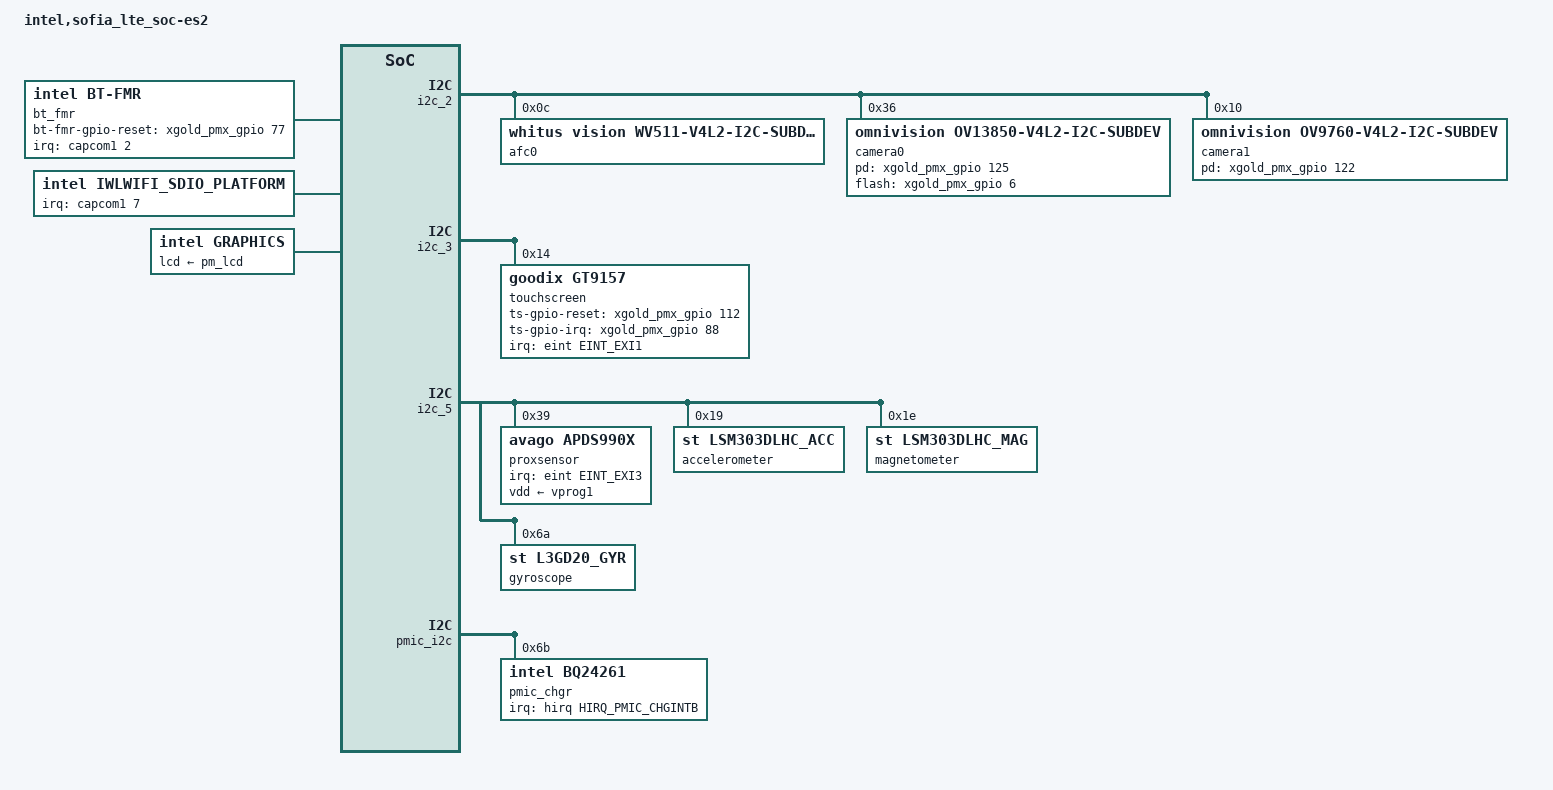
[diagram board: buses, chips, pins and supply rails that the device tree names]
/dts-v1/;
#define SOFIALTE_ES2
#define PMIC_B0
#include "xgold/sofia_lte_soc/irq.h"

/ {
	#address-cells = <1>;
	#size-cells = <1>;
	model = "intel,sofia_lte_soc-es2";
	compatible = "intel,sofia_lte_soc-svb", "intel,xgold";

	#include "xgold/sofia_lte_soc/sofia_lte_soc.dtsi"
	#include "xgold/sofia_lte_soc/irq.dtsi"
	#include "xgold/mobilevisor/mobilevisor.dtsi"
	#include "xgold/pmic/sofia_lte.dtsi"
	#include "xgold/sofia_lte_soc/clock-es2.dtsi"
	#include "xgold/sofia_lte_soc/device-pm-reg.dtsi"
	#include "xgold/sofia_lte_soc/cpufreq.dtsi"
	/* FIXME: Add regulator.dtsi */

	chosen {
	};

	aliases {
	};

	memory {
		/* FIXME: Add memory desc */
	};

	reserved-memory {
		#address-cells = <1>;
		#size-cells = <1>;
		ranges;

		/* global autoconfigured region for contiguous allocations */
		cma_default_region: region@0 {
			size = <0x09000000>;
			linux,cma-default;
		};
	};

	vmodem {
		compatible = "intel,vmodem";
		vmodem,nvm-part = < 1 >;
		vmodem,part-names =
			"/dev/block/platform/soc0/e0000000.noc/by-name/ImcPartID022";
		part-addr,part-size =
			<0x3FE80000 0x180000>;
	};


	ion {
		compatible = "intel,ion";
		cma-heap {
			memory-region = <&cma_default_region>;
		};
	};

	bt_fmr {
		compatible = "intel,bt-fmr";
		pinctrl-names = "default", "sleep", "inactive";
		pinctrl-0 = <&bt_fmr_default_pins>;
		pinctrl-1 = <&bt_fmr_sleep_pins>;
		pinctrl-2 = <&bt_fmr_inactive_pins>;
		intel,bt-fmr-gpio-reset = <&xgold_pmx_gpio 77 0 >;
		interrupt-parent = <&capcom1>;
		interrupts = < 2 XGOLD_IRQ_TYPE_EDGE_FALLING >;
		interrupt-names = "wakeup-host";
	};

	iwlwifi_sdio_platform {
		compatible = "intel,iwlwifi_sdio_platform";

		interrupt-parent = <&capcom1>;
		interrupts = < 7 XGOLD_IRQ_TYPE_EDGE_FALLING >;
		interrupt-names = "wlan_irq";
	};


	graphics {
		compatible = "intel,graphics";
		intel,gpu-shared-mem = <0x20000000>;
		intel,dcc-fbpixelformat= "RGB888";
		intel,dcc-debug-level = <1>;
#ifdef RECOVERY_KERNEL
		intel,fb-api = <1>;
		intel,dcc-mem = < 0x00800000 >;
#else
		intel,dcc-use-fences = <1>;
		intel,dcc-mem = < 0x00400000 >;
		intel,prot-mem = < 0x30800000 0xB800000>;
#endif
		lcd-supply = <&pm_lcd>;
		intel,display-fps = <60>;
		intel,display-ramless = <1>;
		intel,display-preinit = <0>;
		intel,display-if = <&mipi_dsi>;
		intel,display-if-rate = <375000000>;
		/include/ "xgold/display/HX8394.dtsi"
		mipi_dsi:mipi-dsi {
				intel,display-if-min = <104000000>;
				intel,display-if-max = <550000000>;
				intel,display-if-nblanes = <4>;
				intel,display-if-phy-pwup = <6>;
				intel,display-if-phy-calib = <3>;
				intel,display-if-phy-to_lp_hs_req = <24>;
				intel,display-if-phy-to_lp_hs_dis = <25>;
				intel,display-if-phy-to_lp_hs_eot = <60>;
				intel,display-if-phy-to_hs_zero = <8>;
				intel,display-if-phy-to_hs_flip = <24>;
				intel,display-if-phy-lp_clk_div = <31>;
				intel,display-if-phy-to_hs_clk_pre = <36>;
				intel,display-if-phy-to_hs_clk_post = <42>;
				intel,display-if-phy-data_delay = <7>;
				intel,display-if-phy-clock_delay = <7>;
				intel,display-if-phy-lp_tx_tfall = <2>;
				intel,display-if-phy-lp_tx_rise = <2>;
				intel,display-if-phy-lp_tx_vref = <31>;
		};
	};

	sound {
		compatible = "intel,xgold-snd-asoc";
		intel,audio-codec = <&pmic_afe>;
		intel,pcm-audio = <&pcm_music>;
		intel,pcm-voice = <&pcm_voice>;
		intel,speech = <&speech_probe>;
#ifdef PMIC_B0
		intel,jack = <&headset>;
#endif
	};
	xgold_pmic {
		/* compatible = "intel,xgold_pmic"; */
		intel,adapter = < &i2c_1 >;
		intel,slave-addr = /bits/ 8 < 0x4f 0x5e 0x5f 0x6d 0x6e >;
		intel,slave-names = "dev2", "dev3", "dev4", "dev5", "dev6";
	};

	radio {
		compatible = "intel,fm-radio";
	};

	fuel_gauge:fuel_gauge {
		compatible = "intel,fuel_gauge";
	};
};

&pmic_bat {
	/* Note: Value of max_temp and max_temp_restart take consideration of
	temperature compensation when NTC uses VBAT_GND */
	#define BAT_TYPE_LC 0
	#define POWER_SUPPLY_TECHNOLOGY_LION 2

	supp_batids =  < 0     BAT_TYPE_LC
			 4700  BAT_TYPE_LC
			 12000 BAT_TYPE_LC
			 15000 BAT_TYPE_LC
			 20000 BAT_TYPE_LC
			 27000 BAT_TYPE_LC >;

	supp_batids-map = "standrd",
			  "dummy",
			  "standrd",
			  "standrd",
			  "standrd",
			  "standrd";

	prof-standrd = < POWER_SUPPLY_TECHNOLOGY_LION /*battery_type*/
				  2763 /*capacity*/
				  4350 /*voltage_max*/
				  138 /*chrg_term_ma*/
				  3200 /*low_batt_mv*/
				  60 /*disch_tmp_ul*/
				  0xffffffec /*disch_tmp_ll (-20)*/
				  0 /*min_temp*/
				  3 /*min_temp_restart*/
				  40 /*max_temp_restart*/ >;

	prof-standrd-cap_to_vbat_ocv = <
		3202 3353 3463 3538 3594 3637 3669 3684 3690 3694
		3697 3700 3703 3706 3711 3717 3723 3730 3736 3741
		3746 3751 3755 3760 3764 3768 3771 3774 3777 3779
		3781 3784 3786 3788 3791 3793 3796 3799 3802 3805
		3808 3811 3814 3818 3822 3825 3829 3833 3838 3842
		3847 3851 3856 3861 3867 3872 3878 3884 3890 3897
		3904 3911 3918 3925 3932 3940 3947 3953 3960 3965
		3971 3977 3984 3993 4004 4017 4033 4048 4062 4071
		4078 4084 4091 4100 4109 4119 4128 4138 4148 4158
		4168 4177 4187 4197 4207 4217 4227 4237 4247 4256
		4264 >;


	prof-standrd-ntemp_ranges = <1>;

	prof-standrd-temp_range0 = < 43 /*max_temp*/
					     4300 /*full_chrg_vol*/
					     1500 /*full_chrg_cur*/
					     98 /*charging_res_cap*/
					     4300 /*maint_chrg_vol_ul*/
					     1500 /*maint_chrg_cur*/ >;



	prof-dummy = <   POWER_SUPPLY_TECHNOLOGY_LION /*battery_type*/
				  0xFFFF /*capacity*/
				  4350 /*voltage_max*/
				  82 /*chrg_term_ma*/
				  3200 /*low_batt_mv*/
				  60 /*disch_tmp_ul*/
				  0xffffffec /*disch_tmp_ll (-20)*/
				  0xfffffeef /*min_temp (-273)*/
				  0xfffffef0 /*min_temp_restart (-272)*/
				  0xfffffef1 /*max_temp_restart (-271)*/ >;


	prof-dummy-cap_to_vbat_ocv = <
		3202 3353 3463 3538 3594 3637 3669 3684 3690 3694
		3697 3700 3703 3706 3711 3717 3723 3730 3736 3741
		3746 3751 3755 3760 3764 3768 3771 3774 3777 3779
		3781 3784 3786 3788 3791 3793 3796 3799 3802 3805
		3808 3811 3814 3818 3822 3825 3829 3833 3838 3842
		3847 3851 3856 3861 3867 3872 3878 3884 3890 3897
		3904 3911 3918 3925 3932 3940 3947 3953 3960 3965
		3971 3977 3984 3993 4004 4017 4033 4048 4062 4071
		4078 4084 4091 4100 4109 4119 4128 4138 4148 4158
		4168 4177 4187 4197 4207 4217 4227 4237 4247 4256
		4264 >;


	prof-dummy-ntemp_ranges = <1>;

	prof-dummy-temp_range0 = < 0xfffffef2 /*max_temp (-270)*/
					   4160 /*full_chrg_vol*/
					   850 /*full_chrg_cur*/
					   98 /*charging_res_cap*/
					   4160 /*maint_chrg_vol_ul*/
					   850 /*maint_chrg_cur*/ >;

	nprofiles = <2>;
};

&fuel_gauge_hal {
	sense_resistor_mohm = <10>;
	gain_error_1_uc_per_mc = <30>;
	gain_error_2_uc_per_mc = <30>;
};

&dcc {
	pinctrl-names = "default", "sleep", "inactive";
	pinctrl-0 = <&dif_default_pins>;
	pinctrl-1 = <&dif_sleep_pins>;
	pinctrl-2 = <&dif_inactive_pins>;
};

&usif1 {
	pinctrl-names = "default", "sleep", "inactive";
	pinctrl-0 = <&usif1_default_pins>;
	pinctrl-1 = <&usif1_sleep_pins>;
	pinctrl-2 = <&usif1_inactive_pins>;
};

&i2c_1 {
	pinctrl-names = "default", "sleep", "inactive";
	pinctrl-0 = <&i2c1_default_pins>;
	pinctrl-1 = <&i2c1_sleep_pins>;
	pinctrl-2 = <&i2c1_inactive_pins>;
	#include "xgold/sofia_lte_soc/regulator.dtsi"
};

&i2c_2 {
	pinctrl-names = "default", "sleep", "inactive";
	pinctrl-0 = <&i2c2_default_pins>;
	pinctrl-1 = <&i2c2_sleep_pins>;
	pinctrl-2 = <&i2c2_inactive_pins>;
#ifndef RECOVERY_KERNEL
	afc0: af-controller@0 {
		compatible = "whitus vision,wv511-v4l2-i2c-subdev";
		reg = < 0x0C >;
	};

	camera0: camera-module@0 {
		compatible = "omnivision,ov13850-v4l2-i2c-subdev";
		reg = < 0x36 >;
		device_type = "v4l2-i2c-subdev";

		pinctrl-names = "default", "sleep", "inactive";
		pinctrl-0 = <&cam1_function_B_active_pins>;
		pinctrl-1 = <&cam1_function_B_sleep_pins>;
		pinctrl-2 = <&cam1_function_B_inactive_pins>;

		intel,pd-gpio = <&xgold_pmx_gpio 125 0>;
		intel,pd-gpio-is_active_low;
		intel,flash-gpio = <&xgold_pmx_gpio 6 0>;

		pm,class-name = "generic_class";
		pm,user-name = "ext_prim_cam";
		pm,state-D0 = "enable";
		pm,state-D3 = "disable";

		/* ["front","back"] */
		intel,camera-module-facing = "back";
		/* ["landscape","landscape-flipped","portrait","portrait-flipped"] */
		intel,camera-module-mounting = "landscape";
		intel,camera-module-flash-support = <1>;
		intel,camera-module-flash-exp-time = <5000>;

		intel,af-ctrl = <&afc0>;

		intel,camera-module-csi-config-0 {
			intel,csi-pixels-per-second = <0>;
			intel,csi-vc = <0>;
			intel,csi-lanes = <2>;
			intel,csi-dphy1 = <0x60102C1>;
			intel,csi-dphy2 = <0x00>;
		};
		intel,camera-module-csi-config-1 {
			intel,csi-pixels-per-second = <100000000>;
			intel,csi-vc = <0>;
			intel,csi-lanes = <4>;
			intel,csi-dphy1 = <0x600E2C1>;
			intel,csi-dphy2 = <0x00>;
		};
	};
#endif
#ifndef RECOVERY_KERNEL
	camera1: camera-module@1 {
		compatible = "omnivision,ov9760-v4l2-i2c-subdev";
		reg = < 0x10 >;
		device_type = "v4l2-i2c-subdev";

		pinctrl-names = "default", "sleep", "inactive";
		pinctrl-0 = <&cam2_function_B_active_pins>;
		pinctrl-1 = <&cam2_function_B_sleep_pins>;
		pinctrl-2 = <&cam2_function_B_inactive_pins>;

		intel,pd-gpio = <&xgold_pmx_gpio 122 0>;
		intel,pd-gpio-is_active_low;

		pm,class-name = "generic_class";
		pm,user-name = "ext_sec_cam";
		pm,state-D0 = "enable";
		pm,state-D3 = "disable";

		intel,camera-module-facing = "front";
		/* ["landscape","landscape-flipped","portrait","portrait-flipped"] */
		intel,camera-module-mounting = "landscape";
		intel,camera-module-flash-support = <1>;
		intel,camera-module-flash-exp-time = <5000>;

		intel,camera-module-csi-config-0 {
			intel,csi-pixels-per-second = <0>;
			intel,csi-vc = <0>;
			intel,csi-lanes = <1>;
			intel,csi-dphy1 = <0x60122A9>;
			intel,csi-dphy2 = <0x00>;
		};

	};
#endif
};

&i2c_3 {
	pinctrl-names = "default", "sleep", "inactive";
	pinctrl-0 = <&i2c3_default_pins>;
	pinctrl-1 = <&i2c3_sleep_pins>;
	pinctrl-2 = <&i2c3_inactive_pins>;
	touchscreen {
		compatible = "goodix,GT9157";
		reg = < 0x14 >;
		interrupt-parent = <&eint>;
		interrupts = < EINT_EXI1 XGOLD_IRQ_TYPE_EDGE_FALLING >;
		pinctrl-names = "default", "sleep", "inactive";
		pinctrl-0 = <&touch_default_pins>;
		pinctrl-1 = <&touch_sleep_pins>;
		pinctrl-2 = <&touch_inactive_pins>;
		intel,ts-gpio-reset = <&xgold_pmx_gpio 112 0>;
		intel,ts-gpio-irq = <&xgold_pmx_gpio 88 0>;
		pm,class-name = "gt9xx_class";
		pm,user-name = "ext_tp";
		pm,state-D0 = "enable";
		pm,state-D3 = "disable";
	};
};

&i2c_4 {
	pinctrl-names = "default", "sleep", "inactive";
	pinctrl-0 = <&i2c4_default_pins>;
	pinctrl-1 = <&i2c4_sleep_pins>;
	pinctrl-2 = <&i2c4_inactive_pins>;
};

&i2c_5 {
	pinctrl-names = "default", "sleep", "inactive";
	pinctrl-0 = <&i2c5_default_pins>;
	pinctrl-1 = <&i2c5_sleep_pins>;
	pinctrl-2 = <&i2c5_inactive_pins>;
	proxsensor {
		compatible = "avago,apds990x";
		reg = < 0x39 >;
		interrupt-parent = <&eint>;
		interrupts = < EINT_EXI3 XGOLD_IRQ_TYPE_EDGE_FALLING >;
		pinctrl-names = "default", "sleep", "inactive";
		pinctrl-0 = <&prox_default_pins>;
		pinctrl-1 = <&prox_sleep_pins>;
		pinctrl-2 = <&prox_inactive_pins>;
		intel,pdrive = /bits/ 8 < 64 >;
		intel,ppcount = /bits/ 8 < 64 >;
		vdd-supply = < &vprog1 >;
		pm,class-name = "apds990x_class";
		pm,user-name = "ext_proximity_sensor";
		pm,state-D0 = "enable";
		pm,state-D3 = "disable";
	};

	accelerometer {
		compatible = "st,lsm303dlhc_acc";
		reg = < 0x19 >;
		intel,axis-map = < 0 1 2 >;
		intel,negate = < 0 0 0 >;
		intel,poll-interval = < 100 >;
		pinctrl-names = "default", "sleep", "inactive";
		pinctrl-0 = <&accel_default_pins>;
		pinctrl-1 = <&accel_sleep_pins>;
		pinctrl-2 = <&accel_inactive_pins>;
		pm,class-name = "lsm303dlhc_acc_class";
		pm,user-name = "ext_accelerometer";
		pm,state-D0 = "enable";
		pm,state-D3 = "disable";
	};

	magnetometer {
		compatible = "st,lsm303dlhc_mag";
		reg = < 0x1e >;
		intel,axis-map = < 0 1 2 >;
		intel,negate = < 0 0 0 >;
		intel,offset = < 0 0 0 >;
		intel,poll-interval = < 100 >;
		pm,class-name = "lsm303dlhc_mag_class";
		pm,user-name = "ext_magnetometer";
		pm,state-D0 = "enable";
		pm,state-D3 = "disable";
	};

	gyroscope {
		compatible = "st,l3gd20_gyr";
		reg = < 0x6a >;
		pinctrl-names = "default", "sleep", "inactive";
		pinctrl-0 = <&gyroscope_default_pins>;
		pinctrl-1 = <&gyroscope_sleep_pins>;
		pinctrl-2 = <&gyroscope_inactive_pins>;
		intel,axis-map = < 0 1 2 >;
		intel,negate = < 1 1 0 >;
		intel,poll-interval = < 100 >;
		intel,full-scale = < 2000 >;
		pm,class-name = "l3gd20_class";
		pm,user-name = "ext_gyroscope";
		pm,state-D0 = "enable";
		pm,state-D3 = "disable";
	};

};

&pmic_i2c {
	pmic_chgr:pmic_chgr {
		compatible = "intel,bq24261";
		reg = < 0x6b >;
		#address-cells = < 0 >;

		interrupt-parent = <&hirq>;
		interrupts = < HIRQ_PMIC_CHGINTB IRQ_TYPE_DEFAULT >;
		interrupt-names = "chgintb";
	};
};

&gnss {
	pinctrl-names = "default", "sleep", "inactive";
	pinctrl-0 = <&gnss_default_pins>;
	pinctrl-1 = <&gnss_sleep_pins>;
	pinctrl-2 = <&gnss_inactive_pins>;
};

&usif3 {
	pinctrl-names = "default", "sleep", "inactive";
	pinctrl-0 = <&bt_usif_default_pins>;
	pinctrl-1 = <&bt_usif_sleep_pins>;
	pinctrl-2 = <&bt_usif_inactive_pins>;
};


&keypad {
	pinctrl-names = "default", "sleep", "inactive";
	pinctrl-0 = <&kp_default_pins>;
	pinctrl-1 = <&kp_sleep_pins>;
	pinctrl-2 = <&kp_inactive_pins>;
	keypad,num-rows = <3>;
	keypad,num-columns = <8>;
	keypad,rows = <0 2>;
	keypad,columns = <0 1 2>;
	linux,keymap = <
		0x00000073	/* KEY_VOLUMEUP */
		0x00010066	/* KEY_HOME */
		0x00020000	/* KEY_RESERVED */
		0x00030000	/* KEY_RESERVED */
		0x00040000	/* KEY_RESERVED */
		0x00050000	/* KEY_RESERVED */
		0x00060000	/* KEY_RESERVED */
		0x00070000	/* KEY_RESERVED */
		0x01000000	/* KEY_RESERVED */
		0x01010000	/* KEY_RESERVED */
		0x01020000	/* KEY_RESERVED */
		0x01030000	/* KEY_RESERVED */
		0x01040000	/* KEY_RESERVED */
		0x01050000	/* KEY_RESERVED */
		0x01060000	/* KEY_RESERVED */
		0x01070000	/* KEY_RESERVED */
		0x02000072	/* KEY_VOLUMEDOWN */
		0x02010000	/* KEY_RESERVED */
		0x02020000>;	/* KEY_RESERVED */
};

&sdmmc {
	intel,tap_values = <0x0241020 0x0C91020 0x0C41020 0x0291020 0x0C41020 0x0F50F20 0x0F50F20 >;
	pinctrl-names = "default", "sleep", "inactive";
	pinctrl-0 = <&sdmmc_default_pins>;
	pinctrl-1 = <&sdmmc_sleep_pins>;
	pinctrl-2 = <&sdmmc_inactive_pins>;
};

&emmc {
	intel,tap_values = <0x0361020 0x0371020 0x0371020 0x0371020 0x0C41020 0x0070231 0x0A40F10 >;
	pinctrl-names = "default", "sleep", "inactive";
	pinctrl-0 = <&emmc_default_pins>;
	pinctrl-1 = <&emmc_sleep_pins>;
	pinctrl-2 = <&emmc_inactive_pins>;

};

&sdio {
	intel,tap_values = <0x03D1030 0x05D1030 0x0C41030 0x05D1030 0x03D1030 0x0A40F30 0x370030>;
	intel,tap_values2 = <0x074156 0x074156 0x074156 0x074156 0x074156 0x074156 0x074176>;
	intel,card_drive_strength = <0 0 0 0>; /*0=B=default*/
	pinctrl-names = "default", "sleep", "inactive";
	pinctrl-0 = <&sdio_default_pins>;
	pinctrl-1 = <&sdio_sleep_pins>;
	pinctrl-2 = <&sdio_inactive_pins>;
};

#ifndef RECOVERY_KERNEL
&cif {
	intel,camera-modules-attached = <&camera0 &camera1>;
};
#endif

#include "xgold/sofia_lte_soc/pinctrl-sf_lte-es2-svb.dtsi"
